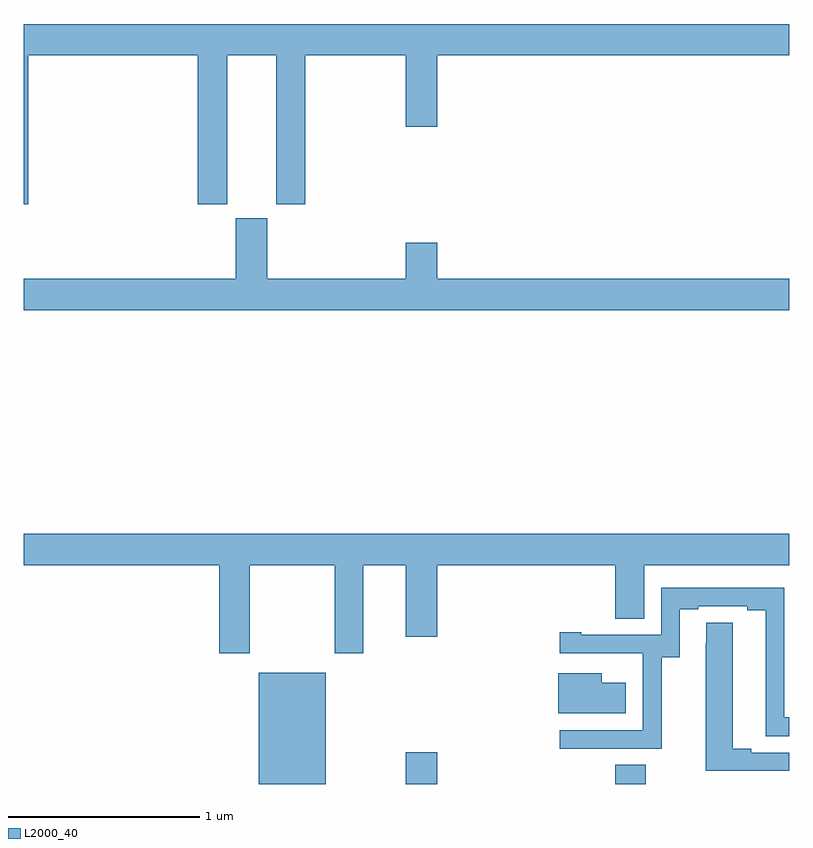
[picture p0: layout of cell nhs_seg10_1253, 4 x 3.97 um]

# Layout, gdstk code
import gdstk
lib = gdstk.Library(unit=1e-6, precision=1e-09)
def R(c, l, rs):  # rectangles x0, y0, x1, y1
    for r in rs: c.add(gdstk.rectangle(r[:2], r[2:], *l))
def P(c, l, *ps):  # polygons
    for p in ps: c.add(gdstk.Polygon(p, *l))
L2000_40 = (2000, 40)

nhs_seg10_1253 = lib.new_cell('nhs_seg10_1253')
R(nhs_seg10_1253, L2000_40, [(176.228,1304.5,176.578,1305.082), (176.996,1304.5,177.16,1304.665), (178.091,1304.5,178.251,1304.6)])
P(nhs_seg10_1253, L2000_40, [(175.022,1308.308),(175.91,1308.308),(175.91,1307.529),(176.062,1307.529),(176.062,1308.308),(176.318,1308.308),(176.318,1307.529),(176.471,1307.529),(176.471,1308.308),(176.996,1308.308),(176.996,1307.934),(177.16,1307.934),(177.16,1308.308),(179,1308.308),(179,1308.472),(175,1308.472),(175,1307.529),(175.022,1307.529)],
  [(179,1307.14),(177.16,1307.14),(177.16,1307.329),(176.996,1307.329),(176.996,1307.14),(176.272,1307.14),(176.272,1307.457),(176.108,1307.457),(176.108,1307.14),(175,1307.14),(175,1306.976),(179,1306.976)],
  [(176.181,1305.644),(176.626,1305.644),(176.626,1305.183),(176.773,1305.183),(176.773,1305.644),(176.996,1305.644),(176.996,1305.27),(177.16,1305.27),(177.16,1305.644),(178.091,1305.644),(178.091,1305.364),(178.243,1305.364),(178.243,1305.644),(179,1305.644),(179,1305.808),(175,1305.808),(175,1305.644),(176.021,1305.644),(176.021,1305.183),(176.181,1305.183)],
  [(178.335,1305.163),(178.429,1305.163),(178.429,1305.414),(178.525,1305.414),(178.525,1305.429),(178.781,1305.429),(178.781,1305.409),(178.877,1305.409),(178.877,1304.749),(179,1304.749),(179,1304.85),(178.974,1304.85),(178.974,1305.525),(178.332,1305.525),(178.332,1305.279),(177.913,1305.279),(177.913,1305.292),(177.801,1305.292),(177.801,1305.183),(178.235,1305.183),(178.235,1305.182),(178.236,1305.182),(178.236,1304.781),(177.801,1304.781),(177.801,1304.685),(178.335,1304.685)],
  [(179,1304.664),(178.801,1304.664),(178.801,1304.684),(178.705,1304.684),(178.705,1305.344),(178.566,1305.344),(178.566,1305.236),(178.565,1305.236),(178.565,1304.568),(179,1304.568)],
  [(178.147,1305.028),(178.021,1305.028),(178.021,1305.079),(177.794,1305.079),(177.794,1304.87),(178.147,1304.87)])

lib.write_gds('nhs_seg10_1253.gds')
